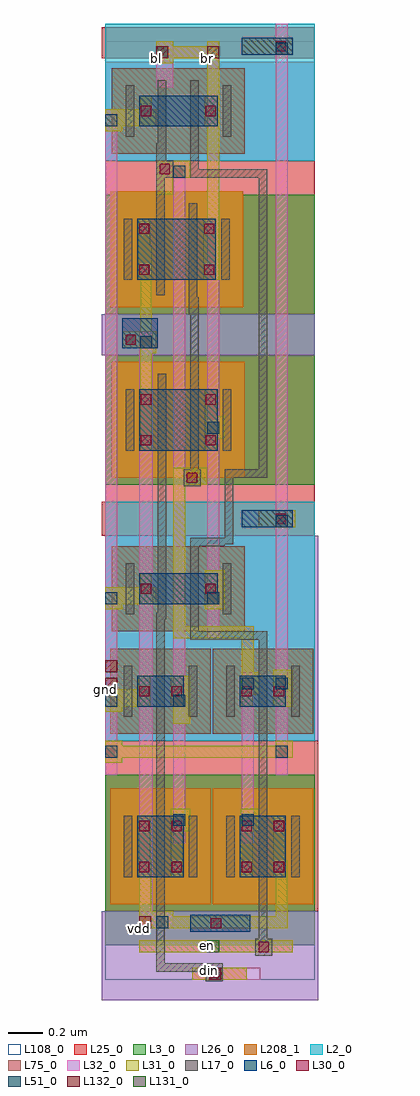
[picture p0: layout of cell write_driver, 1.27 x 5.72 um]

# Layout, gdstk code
from math import pi, radians
import gdstk
lib = gdstk.Library(unit=1e-6, precision=1e-09)
def R(c, l, rs):  # rectangles x0, y0, x1, y1
    for r in rs: c.add(gdstk.rectangle(r[:2], r[2:], *l))
def A(c, l, x, y, w, h, nx, ny, dx, dy):  # array of equal rectangles
    R(c, l, [(x+i*dx, y+j*dy, x+i*dx+w, y+j*dy+h) for i in range(nx) for j in range(ny)])
L2_0 = (2, 0)
L3_0 = (3, 0)
L6_0 = (6, 0)
L17_0 = (17, 0)
L25_0 = (25, 0)
L26_0 = (26, 0)
L30_0 = (30, 0)
L31_0 = (31, 0)
L32_0 = (32, 0)
L51_0 = (51, 0)
L75_0 = (75, 0)
L108_0 = (108, 0)
L131_0 = (131, 0)
L132_0 = (132, 0)
L208_1 = (208, 1)

pch_mac_cdns_72403560678 = lib.new_cell('pch_mac_CDNS_724035606780')
R(pch_mac_cdns_72403560678, L3_0, [(-0.27,-0.16,0.32,0.52)])
R(pch_mac_cdns_72403560678, L6_0, [(-0.11,0,0,0.36), (0,0,0.05,0.36), (0.05,0,0.16,0.36)])
A(pch_mac_cdns_72403560678, L17_0, -0.19, 0, 0.05, 0.36, 3, 1, 0.19, 0)
R(pch_mac_cdns_72403560678, L17_0, [(0,-0.09,0.05,0), (0,0.36,0.05,0.45)])
R(pch_mac_cdns_72403560678, L25_0, [(-0.3,-0.2,-0.24,0.56), (-0.24,-0.2,0.29,0.56), (0.29,-0.2,0.35,0.56)])
R(pch_mac_cdns_72403560678, L30_0, [(-0.1,0.03,-0.04,0.09), (0.09,0.03,0.15,0.09), (-0.1,0.27,-0.04,0.33), (0.09,0.27,0.15,0.33)])
R(pch_mac_cdns_72403560678, L31_0, [(-0.105,0,-0.035,0.36), (0.085,0,0.155,0.36)])
R(pch_mac_cdns_72403560678, L208_1, [(-0.27,-0.16,0.32,0.52)])
pch_mac_cdns_72403560678.add(gdstk.Label('& SerialNumber 000000', (0,0), layer=63, texttype=63))
pch_mac_cdns_72403560678.add(gdstk.Label('& Distributor TSMC', (0,0), layer=63, texttype=63))
pch_mac_cdns_72403560678.add(gdstk.Label('& Metric 1', (0,0), layer=63, texttype=63))
pch_mac_cdns_72403560678.add(gdstk.Label('& PDK Version "tsmcN40_CRN40ULP_v1.5_2b_20200409"', (0,0), layer=63, texttype=63))
pch_mac_cdns_72403560678.add(gdstk.Label('& PDK TechNode "CRN40ULP"', (0,0), layer=63, texttype=63))
pch_mac_cdns_72403560678.add(gdstk.Label('& Product    tsmcN40_PDK', (0,0), layer=63, texttype=63))
pch_mac_cdns_72403560678.add(gdstk.Label('& Vendor     Taiwan Semiconductor manufacturing Corp.', (0,0), layer=63, texttype=63))
pch_mac_cdns_72403560678.add(gdstk.Label('[@instanceName]', (0.025,0.18), layer=127, texttype=0))
pch_mac_cdns_72403560678.add(gdstk.Label('0.36/0.05', (0,0), layer=127, texttype=0))
pch_mac_cdns_72403560678.add(gdstk.Label('pch_mac', (0,0.045), layer=127, texttype=0))
pch_mac_cdns_72403560678.add(gdstk.Label('D', (0.12,0.18), layer=127, texttype=0))
pch_mac_cdns_72403560678.add(gdstk.Label('S', (-0.07,0.18), layer=127, texttype=0))

nch_mac_cdns_72403560678 = lib.new_cell('nch_mac_CDNS_724035606781')
R(nch_mac_cdns_72403560678, L6_0, [(-0.11,0,0,0.18), (0,0,0.05,0.18), (0.05,0,0.16,0.18)])
R(nch_mac_cdns_72403560678, L17_0, [(0,-0.09,0.05,0), (-0.19,-0.06,-0.14,0.24), (0.19,-0.06,0.24,0.24), (0,0,0.05,0.18), (0,0.18,0.05,0.27)])
R(nch_mac_cdns_72403560678, L26_0, [(-0.3,-0.2,-0.24,0.38), (-0.24,-0.2,0.29,0.38), (0.29,-0.2,0.35,0.38)])
R(nch_mac_cdns_72403560678, L30_0, [(-0.1,0.06,-0.04,0.12), (0.09,0.06,0.15,0.12)])
R(nch_mac_cdns_72403560678, L31_0, [(-0.105,0,-0.035,0.18), (0.085,0,0.155,0.18)])
R(nch_mac_cdns_72403560678, L75_0, [(-0.27,-0.16,0.32,0.34)])
R(nch_mac_cdns_72403560678, L208_1, [(-0.27,-0.16,0.32,0.34)])
nch_mac_cdns_72403560678.add(gdstk.Label('& SerialNumber 000000', (0,0), layer=63, texttype=63))
nch_mac_cdns_72403560678.add(gdstk.Label('& Distributor TSMC', (0,0), layer=63, texttype=63))
nch_mac_cdns_72403560678.add(gdstk.Label('& Metric 1', (0,0), layer=63, texttype=63))
nch_mac_cdns_72403560678.add(gdstk.Label('& PDK Version "tsmcN40_CRN40ULP_v1.5_2b_20200409"', (0,0), layer=63, texttype=63))
nch_mac_cdns_72403560678.add(gdstk.Label('& PDK TechNode "CRN40ULP"', (0,0), layer=63, texttype=63))
nch_mac_cdns_72403560678.add(gdstk.Label('& Product    tsmcN40_PDK', (0,0), layer=63, texttype=63))
nch_mac_cdns_72403560678.add(gdstk.Label('& Vendor     Taiwan Semiconductor manufacturing Corp.', (0,0), layer=63, texttype=63))
nch_mac_cdns_72403560678.add(gdstk.Label('[@instanceName]', (0.025,0.09), layer=127, texttype=0))
nch_mac_cdns_72403560678.add(gdstk.Label('0.18/0.05', (0,0), layer=127, texttype=0))
nch_mac_cdns_72403560678.add(gdstk.Label('nch_mac', (0,0.045), layer=127, texttype=0))
nch_mac_cdns_72403560678.add(gdstk.Label('D', (0.12,0.09), layer=127, texttype=0))
nch_mac_cdns_72403560678.add(gdstk.Label('S', (-0.07,0.09), layer=127, texttype=0))

c_nch_mac_cdns_72403560678 = lib.new_cell('nch_mac_CDNS_724035606782')
R(c_nch_mac_cdns_72403560678, L6_0, [(-0.11,0,0,0.18), (0,0,0.05,0.18), (0.05,0,0.12,0.18)])
R(c_nch_mac_cdns_72403560678, L17_0, [(0,-0.09,0.05,0), (-0.19,-0.06,-0.14,0.24), (0,0,0.05,0.18), (0,0.18,0.05,0.27)])
R(c_nch_mac_cdns_72403560678, L26_0, [(-0.3,-0.2,-0.24,0.38), (-0.24,-0.2,0.25,0.38)])
R(c_nch_mac_cdns_72403560678, L30_0, [(-0.1,0.06,-0.04,0.12)])
R(c_nch_mac_cdns_72403560678, L31_0, [(-0.105,0,-0.035,0.18)])
R(c_nch_mac_cdns_72403560678, L75_0, [(-0.27,-0.16,0.28,0.34)])
R(c_nch_mac_cdns_72403560678, L208_1, [(-0.27,-0.16,0.28,0.34)])
c_nch_mac_cdns_72403560678.add(gdstk.Label('& SerialNumber 000000', (0,0), layer=63, texttype=63))
c_nch_mac_cdns_72403560678.add(gdstk.Label('& Distributor TSMC', (0,0), layer=63, texttype=63))
c_nch_mac_cdns_72403560678.add(gdstk.Label('& Metric 1', (0,0), layer=63, texttype=63))
c_nch_mac_cdns_72403560678.add(gdstk.Label('& PDK Version "tsmcN40_CRN40ULP_v1.5_2b_20200409"', (0,0), layer=63, texttype=63))
c_nch_mac_cdns_72403560678.add(gdstk.Label('& PDK TechNode "CRN40ULP"', (0,0), layer=63, texttype=63))
c_nch_mac_cdns_72403560678.add(gdstk.Label('& Product    tsmcN40_PDK', (0,0), layer=63, texttype=63))
c_nch_mac_cdns_72403560678.add(gdstk.Label('& Vendor     Taiwan Semiconductor manufacturing Corp.', (0,0), layer=63, texttype=63))
c_nch_mac_cdns_72403560678.add(gdstk.Label('[@instanceName]', (0.025,0.09), layer=127, texttype=0))
c_nch_mac_cdns_72403560678.add(gdstk.Label('0.18/0.05', (0,0), layer=127, texttype=0))
c_nch_mac_cdns_72403560678.add(gdstk.Label('nch_mac', (0,0.045), layer=127, texttype=0))
c_nch_mac_cdns_72403560678.add(gdstk.Label('S', (-0.07,0.09), layer=127, texttype=0))

c_nch_mac_cdns_72403560678_ = lib.new_cell('nch_mac_CDNS_724035606783')
R(c_nch_mac_cdns_72403560678_, L6_0, [(-0.07,0,0,0.18), (0,0,0.05,0.18), (0.05,0,0.16,0.18)])
R(c_nch_mac_cdns_72403560678_, L17_0, [(0,-0.09,0.05,0), (0.19,-0.06,0.24,0.24), (0,0,0.05,0.18), (0,0.18,0.05,0.27)])
R(c_nch_mac_cdns_72403560678_, L26_0, [(-0.2,-0.2,0.29,0.38), (0.29,-0.2,0.35,0.38)])
R(c_nch_mac_cdns_72403560678_, L30_0, [(0.09,0.06,0.15,0.12)])
R(c_nch_mac_cdns_72403560678_, L31_0, [(0.085,0,0.155,0.18)])
R(c_nch_mac_cdns_72403560678_, L75_0, [(-0.23,-0.16,0.32,0.34)])
R(c_nch_mac_cdns_72403560678_, L208_1, [(-0.23,-0.16,0.32,0.34)])
c_nch_mac_cdns_72403560678_.add(gdstk.Label('& SerialNumber 000000', (0,0), layer=63, texttype=63))
c_nch_mac_cdns_72403560678_.add(gdstk.Label('& Distributor TSMC', (0,0), layer=63, texttype=63))
c_nch_mac_cdns_72403560678_.add(gdstk.Label('& Metric 1', (0,0), layer=63, texttype=63))
c_nch_mac_cdns_72403560678_.add(gdstk.Label('& PDK Version "tsmcN40_CRN40ULP_v1.5_2b_20200409"', (0,0), layer=63, texttype=63))
c_nch_mac_cdns_72403560678_.add(gdstk.Label('& PDK TechNode "CRN40ULP"', (0,0), layer=63, texttype=63))
c_nch_mac_cdns_72403560678_.add(gdstk.Label('& Product    tsmcN40_PDK', (0,0), layer=63, texttype=63))
c_nch_mac_cdns_72403560678_.add(gdstk.Label('& Vendor     Taiwan Semiconductor manufacturing Corp.', (0,0), layer=63, texttype=63))
c_nch_mac_cdns_72403560678_.add(gdstk.Label('[@instanceName]', (0.025,0.09), layer=127, texttype=0))
c_nch_mac_cdns_72403560678_.add(gdstk.Label('0.18/0.05', (0,0), layer=127, texttype=0))
c_nch_mac_cdns_72403560678_.add(gdstk.Label('nch_mac', (0,0.045), layer=127, texttype=0))
c_nch_mac_cdns_72403560678_.add(gdstk.Label('D', (0.12,0.09), layer=127, texttype=0))

c_pch_mac_cdns_72403560678 = lib.new_cell('pch_mac_CDNS_724035606784')
R(c_pch_mac_cdns_72403560678, L3_0, [(-0.27,-0.16,0.28,0.52)])
R(c_pch_mac_cdns_72403560678, L6_0, [(-0.11,0,0,0.36), (0,0,0.05,0.36), (0.05,0,0.12,0.36)])
R(c_pch_mac_cdns_72403560678, L17_0, [(0,-0.09,0.05,0), (-0.19,0,-0.14,0.36), (0,0,0.05,0.36), (0,0.36,0.05,0.45)])
R(c_pch_mac_cdns_72403560678, L25_0, [(-0.3,-0.2,-0.24,0.56), (-0.24,-0.2,0.25,0.56)])
R(c_pch_mac_cdns_72403560678, L30_0, [(-0.1,0.03,-0.04,0.09), (-0.1,0.27,-0.04,0.33)])
R(c_pch_mac_cdns_72403560678, L31_0, [(-0.105,0,-0.035,0.36)])
R(c_pch_mac_cdns_72403560678, L208_1, [(-0.27,-0.16,0.28,0.52)])
c_pch_mac_cdns_72403560678.add(gdstk.Label('& SerialNumber 000000', (0,0), layer=63, texttype=63))
c_pch_mac_cdns_72403560678.add(gdstk.Label('& Distributor TSMC', (0,0), layer=63, texttype=63))
c_pch_mac_cdns_72403560678.add(gdstk.Label('& Metric 1', (0,0), layer=63, texttype=63))
c_pch_mac_cdns_72403560678.add(gdstk.Label('& PDK Version "tsmcN40_CRN40ULP_v1.5_2b_20200409"', (0,0), layer=63, texttype=63))
c_pch_mac_cdns_72403560678.add(gdstk.Label('& PDK TechNode "CRN40ULP"', (0,0), layer=63, texttype=63))
c_pch_mac_cdns_72403560678.add(gdstk.Label('& Product    tsmcN40_PDK', (0,0), layer=63, texttype=63))
c_pch_mac_cdns_72403560678.add(gdstk.Label('& Vendor     Taiwan Semiconductor manufacturing Corp.', (0,0), layer=63, texttype=63))
c_pch_mac_cdns_72403560678.add(gdstk.Label('[@instanceName]', (0.025,0.18), layer=127, texttype=0))
c_pch_mac_cdns_72403560678.add(gdstk.Label('0.36/0.05', (0,0), layer=127, texttype=0))
c_pch_mac_cdns_72403560678.add(gdstk.Label('pch_mac', (0,0.045), layer=127, texttype=0))
c_pch_mac_cdns_72403560678.add(gdstk.Label('S', (-0.07,0.18), layer=127, texttype=0))

c_pch_mac_cdns_72403560678_ = lib.new_cell('pch_mac_CDNS_724035606785')
R(c_pch_mac_cdns_72403560678_, L3_0, [(-0.23,-0.16,0.32,0.52)])
R(c_pch_mac_cdns_72403560678_, L6_0, [(-0.07,0,0,0.36), (0,0,0.05,0.36), (0.05,0,0.16,0.36)])
R(c_pch_mac_cdns_72403560678_, L17_0, [(0,-0.09,0.05,0), (0,0,0.05,0.36), (0.19,0,0.24,0.36), (0,0.36,0.05,0.45)])
R(c_pch_mac_cdns_72403560678_, L25_0, [(-0.2,-0.2,0.29,0.56), (0.29,-0.2,0.35,0.56)])
R(c_pch_mac_cdns_72403560678_, L30_0, [(0.09,0.03,0.15,0.09), (0.09,0.27,0.15,0.33)])
R(c_pch_mac_cdns_72403560678_, L31_0, [(0.085,0,0.155,0.36)])
R(c_pch_mac_cdns_72403560678_, L208_1, [(-0.23,-0.16,0.32,0.52)])
c_pch_mac_cdns_72403560678_.add(gdstk.Label('& SerialNumber 000000', (0,0), layer=63, texttype=63))
c_pch_mac_cdns_72403560678_.add(gdstk.Label('& Distributor TSMC', (0,0), layer=63, texttype=63))
c_pch_mac_cdns_72403560678_.add(gdstk.Label('& Metric 1', (0,0), layer=63, texttype=63))
c_pch_mac_cdns_72403560678_.add(gdstk.Label('& PDK Version "tsmcN40_CRN40ULP_v1.5_2b_20200409"', (0,0), layer=63, texttype=63))
c_pch_mac_cdns_72403560678_.add(gdstk.Label('& PDK TechNode "CRN40ULP"', (0,0), layer=63, texttype=63))
c_pch_mac_cdns_72403560678_.add(gdstk.Label('& Product    tsmcN40_PDK', (0,0), layer=63, texttype=63))
c_pch_mac_cdns_72403560678_.add(gdstk.Label('& Vendor     Taiwan Semiconductor manufacturing Corp.', (0,0), layer=63, texttype=63))
c_pch_mac_cdns_72403560678_.add(gdstk.Label('[@instanceName]', (0.025,0.18), layer=127, texttype=0))
c_pch_mac_cdns_72403560678_.add(gdstk.Label('0.36/0.05', (0,0), layer=127, texttype=0))
c_pch_mac_cdns_72403560678_.add(gdstk.Label('pch_mac', (0,0.045), layer=127, texttype=0))
c_pch_mac_cdns_72403560678_.add(gdstk.Label('D', (0.12,0.18), layer=127, texttype=0))

write_driver = lib.new_cell('write_driver')
R(write_driver, L2_0, [(0,1.4,1.1,2.8), (1.1,1.4,1.23,2.8), (0,4.8,1.1,5.6), (1.1,4.8,1.23,5.6)])
R(write_driver, L3_0, [(0,0.2,1.1,1.2), (1.1,0.2,1.23,1.2), (0,2.9,1.1,4.6), (1.1,2.9,1.23,4.6)])
R(write_driver, L6_0, [(0.5,0.28,0.85,0.38), (0.8,2.65,1.1,2.75), (0.1,3.7,0.31,3.875), (0.8,5.42,1.1,5.52)])
R(write_driver, L17_0, [(0.59,-0.01,0.69,0.09), (0.3,0.08,0.35,0.75), (0.88,0.14,0.98,0.24), (0.9,0.2,0.95,0.75), (0.3,1,0.35,1.55), (0.9,1,0.95,1.55), (0.3,1.5,0.35,2.15), (0.9,1.8,0.95,2), (0.5,1.99,0.95,2.04), (0.5,2,0.55,2.2), (0.31,2.3,0.36,3.05), (0.5,2.4,0.55,2.55), (0.5,2.54,0.7,2.59), (0.7,2.55,0.75,2.99), (0.46,2.89,0.56,2.99), (0.5,2.9,0.55,3.1), (0.7,2.94,0.9,2.99), (0.9,2.94,0.95,4.7), (0.5,3.5,0.55,4), (0.49,3.9,0.54,4.1), (0.3,4.5,0.35,4.9), (0.3,4.7,0.4,4.8), (0.5,4.7,0.55,4.95), (0.5,4.7,0.95,4.75), (0.31,4.8,0.36,5)])
R(write_driver, L25_0, [(0,1.1,1.2,1.4), (1.2,1.1,1.25,1.4), (-0.02,2.6,1.12,2.8), (1.1,2.6,1.23,3.66), (0,2.8,1.1,3.66), (0,2.8,0.9,2.9), (0,2.9,0.9,3.6), (0,3.9,1.1,4.6), (1.1,3.9,1.23,4.8), (0,4.6,1.1,4.8), (-0.02,5.4,1.12,5.58), (1.12,5.4,1.23,5.58)])
R(write_driver, L26_0, [(-0.02,-0.12,1.25,0.4), (0,1.9,1.2,2.1), (1.2,1.98,1.25,2.6), (0,2.1,1.2,2.6), (-0.02,3.66,1.12,3.9), (1.12,3.66,1.23,3.9), (0,4.8,1.1,5.38), (1.1,4.8,1.23,5.38)])
R(write_driver, L30_0, [(0.61,0.01,0.67,0.07), (0.9,0.16,0.96,0.22), (0.62,0.3,0.68,0.36), (1,2.67,1.06,2.73), (0.48,2.91,0.54,2.97), (0.12,3.72,0.18,3.78), (0.32,4.72,0.38,4.78), (1,5.44,1.06,5.5)])
R(write_driver, L31_0, [(0.51,0,0.83,0.07), (0.2,0.16,1.1,0.23), (0.2,0.3,0.4,0.4), (0.2,0.3,1,0.37), (0.2,0.3,0.27,0.7), (1,0.3,1.07,0.7), (0.385,0.87,0.5,1), (0.795,0.87,0.9,1), (0,1.27,0.1,1.4), (0.1,1.3,0.2,1.37), (0.1,1.3,1.1,1.37), (1,1.3,1.1,1.4), (0.4,1.5,0.5,1.78), (0,1.57,0.1,1.7), (0.1,1.6,0.2,1.7), (0.985,1.6,1.1,1.815), (0.8,1.67,0.9,1.8), (0.8,1.7,0.87,2), (0.4,2,0.87,2.07), (0.4,2,0.47,2.9), (0,2.17,0.1,2.3), (0.585,2.17,0.7,2.4), (0.1,2.2,0.2,2.3), (0.2,2.2,0.3,2.3), (0.9,2.65,1.115,2.75), (0.4,2.9,0.6,3), (0.6,3.17,0.7,3.3), (0.205,3.4,0.275,4.3), (0.205,3.67,0.3,3.8), (0.1,3.7,0.3,3.8), (0.6,4.1,0.67,5.5), (0.3,4.6,0.4,4.8), (0.3,4.7,0.4,4.8), (0.4,4.7,0.5,4.8), (0,4.97,0.1,5.1), (0.1,5,0.2,5.1), (0.2,5,0.3,5.1), (0.3,5.37,0.4,5.5), (0.3,5.4,0.6,5.47), (0.8,5.42,1.1,5.52)])
R(write_driver, L32_0, [(0.51,0,0.91,0.07), (0.2,0.3,0.4,0.4), (0.2,0.4,0.28,3.8), (0.4,0.8,0.47,4.8), (0.8,0.8,0.87,1.8), (0,1.2,0.07,1.3), (1,1.2,1.07,5.6), (0,1.3,0.07,5.1), (0.6,2,0.67,5.4), (0.3,5.23,0.4,5.5)])
R(write_driver, L51_0, [(0.61,0,0.68,0.07), (0.3,0.3,0.37,0.37), (0.4,0.9,0.47,0.97), (0.8,0.9,0.87,0.97), (0,1.3,0.07,1.37), (1,1.3,1.07,1.37), (0,1.6,0.07,1.67), (0.4,1.6,0.47,1.67), (0.8,1.7,0.87,1.77), (1,1.7,1.07,1.77), (0,2.2,0.07,2.27), (0.6,2.2,0.67,2.27), (1,2.65,1.07,2.72), (0.6,3.2,0.67,3.27), (0.205,3.7,0.275,3.77), (0.4,4.7,0.47,4.77), (0,5,0.07,5.07), (0.3,5.4,0.37,5.47), (1,5.42,1.07,5.49)])
R(write_driver, L108_0, [(0,0,1.23,5.5)])
R(write_driver, L131_0, [(0.6,0.16,0.67,0.23), (0.6,0.16,0.67,0.23)])
R(write_driver, L132_0, [(0.61,0,0.68,0.07), (0.61,0,0.68,0.07), (0.2,0.3,0.27,0.37), (0.2,0.3,0.27,0.37), (0,1.7,0.07,1.77), (0,1.8,0.07,1.87), (0.3,5.4,0.37,5.47), (0.3,5.4,0.37,5.47), (0.6,5.4,0.67,5.47), (0.6,5.4,0.67,5.47)])
write_driver.add(gdstk.FlexPath([(0.665,0.07),(0.665,0.09)], 0.05, ends=(0.025, 0), simple_path=True, layer=17, datatype=0))  # L17_0
write_driver.add(gdstk.FlexPath([(0.325,0.07),(0.665,0.07)], 0.05, ends="extended", simple_path=True, layer=17, datatype=0))  # L17_0
write_driver.add(gdstk.FlexPath([(0.325,0.08),(0.325,0.07)], 0.05, ends=(0, 0.025), simple_path=True, layer=17, datatype=0))  # L17_0
write_driver.add(gdstk.Reference(pch_mac_cdns_72403560678, (0.95,0.6), rotation=pi, x_reflection=True))
write_driver.add(gdstk.Reference(pch_mac_cdns_72403560678, (0.3,0.6)))
write_driver.add(gdstk.Reference(nch_mac_cdns_72403560678, (0.95,1.6), rotation=pi, x_reflection=True))
write_driver.add(gdstk.Reference(nch_mac_cdns_72403560678, (0.3,1.6)))
write_driver.add(gdstk.Reference(c_nch_mac_cdns_72403560678, (0.31,2.2)))
write_driver.add(gdstk.Reference(c_nch_mac_cdns_72403560678, (0.31,5)))
write_driver.add(gdstk.Reference(c_nch_mac_cdns_72403560678_, (0.5,2.2)))
write_driver.add(gdstk.Reference(c_nch_mac_cdns_72403560678_, (0.5,5)))
write_driver.add(gdstk.Reference(c_pch_mac_cdns_72403560678, (0.31,3.1)))
write_driver.add(gdstk.Reference(c_pch_mac_cdns_72403560678, (0.3,4.1)))
write_driver.add(gdstk.Reference(c_pch_mac_cdns_72403560678_, (0.5,3.1)))
write_driver.add(gdstk.Reference(c_pch_mac_cdns_72403560678_, (0.49,4.1)))
write_driver.add(gdstk.Label('br', (0.6,5.4), layer=132, texttype=0))
write_driver.add(gdstk.Label('bl', (0.3,5.4), layer=132, texttype=0))
write_driver.add(gdstk.Label('din', (0.61,0.05), layer=132, texttype=0))
write_driver.add(gdstk.Label('gnd', (0,1.7), layer=132, texttype=0))
write_driver.add(gdstk.Label('vdd', (0.2,0.3), layer=132, texttype=0))
write_driver.add(gdstk.Label('en', (0.6,0.2), layer=131, texttype=0))

lib.write_gds('write_driver.gds')
